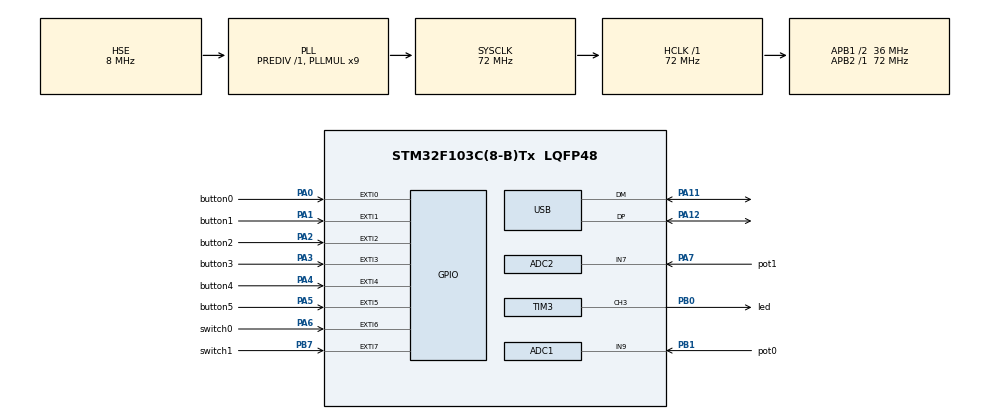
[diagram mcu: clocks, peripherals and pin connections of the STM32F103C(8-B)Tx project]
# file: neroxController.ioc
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ADC1.Channel-7\#ChannelRegularConversion=ADC_CHANNEL_9
ADC1.ContinuousConvMode=ENABLE
ADC1.DataAlign=ADC_DATAALIGN_RIGHT
ADC1.DiscontinuousConvMode=DISABLE
ADC1.EnableAnalogWatchDog=false
ADC1.EnableRegularConversion=ENABLE
ADC1.ExternalTrigConv=ADC_SOFTWARE_START
ADC1.InjNumberOfConversion=0
ADC1.NbrOfConversion=1
ADC1.NbrOfConversionFlag=1
ADC1.Rank-7\#ChannelRegularConversion=1
ADC1.SamplingTime-7\#ChannelRegularConversion=ADC_SAMPLETIME_1CYCLE_5
ADC1.ScanConvMode=ADC_SCAN_DISABLE
ADC1.master=1
ADC2.Channel-0\#ChannelRegularConversion=ADC_CHANNEL_7
ADC2.ContinuousConvMode=ENABLE
ADC2.NbrOfConversion=1
ADC2.NbrOfConversionFlag=1
ADC2.Rank-0\#ChannelRegularConversion=1
ADC2.SamplingTime-0\#ChannelRegularConversion=ADC_SAMPLETIME_1CYCLE_5
Dma.Request0=TIM3_CH3
Dma.TIM3_CH3.0.Direction=DMA_MEMORY_TO_PERIPH
Dma.TIM3_CH3.0.Instance=DMA1_Channel2
Dma.TIM3_CH3.0.MemDataAlignment=DMA_MDATAALIGN_WORD
Dma.TIM3_CH3.0.MemInc=DMA_MINC_ENABLE
Dma.TIM3_CH3.0.Mode=DMA_CIRCULAR
Dma.TIM3_CH3.0.PeriphDataAlignment=DMA_PDATAALIGN_WORD
Dma.TIM3_CH3.0.PeriphInc=DMA_PINC_DISABLE
Dma.TIM3_CH3.0.Priority=DMA_PRIORITY_MEDIUM
Mcu.Family=STM32F1
Mcu.Name=STM32F103C(8-B)Tx
Mcu.Package=LQFP48
NVIC.DMA1_Channel2_IRQn=true\:0\:0\:false\:false\:true\:false
NVIC.EXTI0_IRQn=true\:0\:0\:false\:false\:true\:true
NVIC.EXTI1_IRQn=true\:0\:0\:false\:false\:true\:true
NVIC.EXTI2_IRQn=true\:0\:0\:false\:false\:true\:true
NVIC.EXTI3_IRQn=true\:0\:0\:false\:false\:true\:true
NVIC.EXTI4_IRQn=true\:0\:0\:false\:false\:true\:true
NVIC.EXTI9_5_IRQn=true\:0\:0\:false\:false\:true\:true
NVIC.PriorityGroup=NVIC_PRIORITYGROUP_4
NVIC.USB_HP_CAN1_TX_IRQn=true\:0\:0\:false\:false\:true\:true
NVIC.USB_LP_CAN1_RX0_IRQn=true\:0\:0\:false\:false\:true\:false
PA0-WKUP.GPIO_Label=button0
PA0-WKUP.GPIO_ModeDefaultEXTI=GPIO_MODE_IT_RISING_FALLING
PA0-WKUP.GPIO_PuPd=GPIO_PULLDOWN
PA0-WKUP.Signal=GPXTI0
PA1.GPIO_Label=button1
PA1.GPIO_ModeDefaultEXTI=GPIO_MODE_IT_RISING_FALLING
PA1.GPIO_PuPd=GPIO_PULLDOWN
PA1.Signal=GPXTI1
PA11.Mode=Device
PA11.Signal=USB_DM
PA12.Mode=Device
PA12.Signal=USB_DP
PA13.Mode=Serial_Wire
PA13.Signal=SYS_JTMS-SWDIO
PA14.Mode=Serial_Wire
PA14.Signal=SYS_JTCK-SWCLK
PA2.GPIO_Label=button2
PA2.GPIO_ModeDefaultEXTI=GPIO_MODE_IT_RISING_FALLING
PA2.GPIO_PuPd=GPIO_PULLDOWN
PA2.Signal=GPXTI2
PA3.GPIO_Label=button3
PA3.GPIO_ModeDefaultEXTI=GPIO_MODE_IT_RISING_FALLING
PA3.GPIO_PuPd=GPIO_PULLDOWN
PA3.Signal=GPXTI3
PA4.GPIO_Label=button4
PA4.GPIO_ModeDefaultEXTI=GPIO_MODE_IT_RISING_FALLING
PA4.GPIO_PuPd=GPIO_PULLDOWN
PA4.Signal=GPXTI4
PA5.GPIO_Label=button5
PA5.GPIO_ModeDefaultEXTI=GPIO_MODE_IT_RISING_FALLING
PA5.GPIO_PuPd=GPIO_PULLDOWN
PA5.Signal=GPXTI5
PA6.GPIO_Label=switch0
PA6.GPIO_ModeDefaultEXTI=GPIO_MODE_IT_RISING_FALLING
PA6.GPIO_PuPd=GPIO_PULLDOWN
PA6.Signal=GPXTI6
PA7.GPIO_Label=pot1
PA7.Signal=ADCx_IN7
PB0.GPIO_Label=led
PB0.Signal=S_TIM3_CH3
PB1.GPIO_Label=pot0
PB1.Signal=ADCx_IN9
PB7.GPIO_Label=switch1
PB7.GPIO_ModeDefaultEXTI=GPIO_MODE_IT_RISING_FALLING
PB7.GPIO_PuPd=GPIO_PULLDOWN
PB7.Signal=GPXTI7
PD0-OSC_IN.Mode=HSE-External-Oscillator
PD0-OSC_IN.Signal=RCC_OSC_IN
PD1-OSC_OUT.Mode=HSE-External-Oscillator
PD1-OSC_OUT.Signal=RCC_OSC_OUT
ProjectManager.HeapSize=0x200
ProjectManager.StackSize=0x400
ProjectManager.TargetToolchain=SW4STM32
RCC.ADCPresc=RCC_ADCPCLK2_DIV6
RCC.AHBFreq_Value=72000000
RCC.APB1CLKDivider=RCC_HCLK_DIV2
RCC.APB1Freq_Value=36000000
RCC.APB1TimFreq_Value=72000000
RCC.APB2Freq_Value=72000000
RCC.APB2TimFreq_Value=72000000
RCC.HCLKFreq_Value=72000000
RCC.PLLMUL=RCC_PLL_MUL9
RCC.SYSCLKFreq_VALUE=72000000
RCC.SYSCLKSource=RCC_SYSCLKSOURCE_PLLCLK
RCC.USBFreq_Value=48000000
RCC.USBPrescaler=RCC_USBCLKSOURCE_PLL_DIV1_5
SH.ADCx_IN7.0=ADC2_IN7,IN7
SH.ADCx_IN9.0=ADC1_IN9,IN9
SH.S_TIM3_CH3.0=TIM3_CH3,PWM Generation3 CH3
TIM3.Channel-PWM\ Generation3\ CH3=TIM_CHANNEL_3
TIM3.Period=90
USB_DEVICE.CLASS_NAME_FS=CUSTOMHID
USB_DEVICE.CONFIGURATION_STRING_CUSTOMHID_FS=USB Controller Config
USB_DEVICE.INTERFACE_STRING_CUSTOMHID_FS=USB Controller Interface
USB_DEVICE.MANUFACTURER_STRING=Nerox
USB_DEVICE.PRODUCT_STRING_CUSTOMHID_FS=Nerox USB Controller
USB_DEVICE.USBD_CUSTOMHID_OUTREPORT_BUF_SIZE=64
USB_DEVICE.USBD_CUSTOM_HID_REPORT_DESC_SIZE=64
USB_DEVICE.USBD_DEBUG_LEVEL=3
USB_DEVICE.VID=1155
USB_DEVICE.VirtualMode=CustomHid
USB_DEVICE.VirtualModeFS=Custom_Hid_FS
VP_TIM3_VS_ClockSourceINT.Mode=Internal
VP_USB_DEVICE_VS_USB_DEVICE_CUSTOM_HID_FS.Mode=CUSTOM_HID_FS
board=neroxController

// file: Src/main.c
/**
  ******************************************************************************
  * File Name          : main.c
  * Description        : Main program body
  ******************************************************************************
  * This notice applies to any and all portions of this file
  * that are not between comment pairs USER CODE BEGIN and
  * USER CODE END. Other portions of this file, whether
  * inserted by the user or by software development tools
  * are owned by their respective copyright owners.
  *
  * Copyright (c) 2018 STMicroelectronics International N.V.
  * All rights reserved.
  *
  * Redistribution and use in source and binary forms, with or without
  * modification, are permitted, provided that the following conditions are met:
  *
  * 1. Redistribution of source code must retain the above copyright notice,
  *    this list of conditions and the following disclaimer.
  * 2. Redistributions in binary form must reproduce the above copyright notice,
  *    this list of conditions and the following disclaimer in the documentation
  *    and/or other materials provided with the distribution.
  * 3. Neither the name of STMicroelectronics nor the names of other
  *    contributors to this software may be used to endorse or promote products
  *    derived from this software without specific written permission.
  * 4. This software, including modifications and/or derivative works of this
  *    software, must execute solely and exclusively on microcontroller or
  *    microprocessor devices manufactured by or for STMicroelectronics.
  * 5. Redistribution and use of this software other than as permitted under
  *    this license is void and will automatically terminate your rights under
  *    this license.
  *
  * THIS SOFTWARE IS PROVIDED BY STMICROELECTRONICS AND CONTRIBUTORS "AS IS"
  * AND ANY EXPRESS, IMPLIED OR STATUTORY WARRANTIES, INCLUDING, BUT NOT
  * LIMITED TO, THE IMPLIED WARRANTIES OF MERCHANTABILITY, FITNESS FOR A
  * PARTICULAR PURPOSE AND NON-INFRINGEMENT OF THIRD PARTY INTELLECTUAL PROPERTY
  * RIGHTS ARE DISCLAIMED TO THE FULLEST EXTENT PERMITTED BY LAW. IN NO EVENT
  * SHALL STMICROELECTRONICS OR CONTRIBUTORS BE LIABLE FOR ANY DIRECT, INDIRECT,
  * INCIDENTAL, SPECIAL, EXEMPLARY, OR CONSEQUENTIAL DAMAGES (INCLUDING, BUT NOT
  * LIMITED TO, PROCUREMENT OF SUBSTITUTE GOODS OR SERVICES; LOSS OF USE, DATA,
  * OR PROFITS; OR BUSINESS INTERRUPTION) HOWEVER CAUSED AND ON ANY THEORY OF
  * LIABILITY, WHETHER IN CONTRACT, STRICT LIABILITY, OR TORT (INCLUDING
  * NEGLIGENCE OR OTHERWISE) ARISING IN ANY WAY OUT OF THE USE OF THIS SOFTWARE,
  * EVEN IF ADVISED OF THE POSSIBILITY OF SUCH DAMAGE.
  *
  ******************************************************************************
  */

#include "main.h"
#include "stm32f1xx_hal.h"
#include "usb_device.h"

ADC_HandleTypeDef hadc1;
ADC_HandleTypeDef hadc2;

TIM_HandleTypeDef htim3;
DMA_HandleTypeDef hdma_tim3_ch3;

/* USER CODE BEGIN PV */
/* Private variables ---------------------------------------------------------*/
#define nLED 12
#define adc_margin 50

void initControllers();

uint8_t usb_rx_buffer[64];
uint8_t senddata;
uint32_t PWM_Buffer[nLED];
uint32_t adc1Value;
uint32_t adc2Value;
uint8_t initCode;
uint8_t isConnected;
/* USER CODE END PV */

void SystemClock_Config(void);
static void MX_GPIO_Init(void);
static void MX_DMA_Init(void);
static void MX_TIM3_Init(void);
static void MX_ADC2_Init(void);
static void MX_ADC1_Init(void);

void HAL_TIM_MspPostInit(TIM_HandleTypeDef *htim);

/* USER CODE BEGIN PFP */
/* Private function prototypes -----------------------------------------------*/

/* USER CODE END PFP */

int main(void)
{

  /* MCU Configuration----------------------------------------------------------*/

  /* Reset of all peripherals, Initializes the Flash interface and the Systick. */
  HAL_Init();

  /* Configure the system clock */
  SystemClock_Config();

  /* Initialize all configured peripherals */
  MX_GPIO_Init();
  MX_DMA_Init();
  MX_USB_DEVICE_Init();
  MX_TIM3_Init();
  MX_ADC2_Init();
  MX_ADC1_Init();

  /* USER CODE BEGIN 2 */
  HAL_ADC_Start(&hadc1);
  HAL_ADC_Start(&hadc2);
  HAL_TIM_Base_Start(&htim3);
  HAL_TIM_PWM_Start(&htim3,TIM_CHANNEL_3);
  HAL_TIM_PWM_Start_DMA(&htim3, TIM_CHANNEL_3, PWM_Buffer ,sizeof(PWM_Buffer));

  /* USER CODE END 2 */

  /* Infinite loop */
  while (1)
  {

  /* USER CODE BEGIN 3 */
	if (initCode)
	{

		volatile uint32_t temp_adc = HAL_ADC_GetValue(&hadc1);
		volatile uint8_t temp[5];

		if(((adc1Value + adc_margin) < temp_adc) || (((int32_t)adc1Value - adc_margin) > (int32_t)temp_adc))
		{
			if (temp_adc < adc_margin)
				temp_adc = 0;

			adc1Value = temp_adc;
			temp[0] = 0xF0; //pot0
			temp[1] = (adc1Value & 0x000000ff);
			temp[2] = (adc1Value & 0x0000ff00) >> 8;
			temp[3] = (adc1Value & 0x00ff0000) >> 16;
			temp[4] = (adc1Value & 0xff000000) >> 24;

			USBD_CUSTOM_HID_SendReport(&hUsbDeviceFS, &temp, 5);
		}

		temp_adc = HAL_ADC_GetValue(&hadc2);

		if(((adc2Value + adc_margin) < temp_adc) || (((int32_t)adc2Value - adc_margin) > (int32_t)temp_adc))
		{
			if (temp_adc < adc_margin)
				temp_adc = 0;

			adc2Value = temp_adc;
			temp[0] = 0xF1; //pot1
			temp[1] = (adc2Value & 0x000000ff);
			temp[2] = (adc2Value & 0x0000ff00) >> 8;
			temp[3] = (adc2Value & 0x00ff0000) >> 16;
			temp[4] = (adc2Value & 0xff000000) >> 24;

			USBD_CUSTOM_HID_SendReport(&hUsbDeviceFS, &temp, 5);
		}
	}
	else
		HAL_Delay(200);
  }
  /* USER CODE END 3 */

}

/** System Clock Configuration
*/
void SystemClock_Config(void)
{

  RCC_OscInitTypeDef RCC_OscInitStruct;
  RCC_ClkInitTypeDef RCC_ClkInitStruct;
  RCC_PeriphCLKInitTypeDef PeriphClkInit;

    /**Initializes the CPU, AHB and APB busses clocks
    */
  RCC_OscInitStruct.OscillatorType = RCC_OSCILLATORTYPE_HSE;
  RCC_OscInitStruct.HSEState = RCC_HSE_ON;
  RCC_OscInitStruct.HSEPredivValue = RCC_HSE_PREDIV_DIV1;
  RCC_OscInitStruct.HSIState = RCC_HSI_ON;
  RCC_OscInitStruct.PLL.PLLState = RCC_PLL_ON;
  RCC_OscInitStruct.PLL.PLLSource = RCC_PLLSOURCE_HSE;
  RCC_OscInitStruct.PLL.PLLMUL = RCC_PLL_MUL9;
  if (HAL_RCC_OscConfig(&RCC_OscInitStruct) != HAL_OK)
  {
    _Error_Handler(__FILE__, __LINE__);
  }

    /**Initializes the CPU, AHB and APB busses clocks
    */
  RCC_ClkInitStruct.ClockType = RCC_CLOCKTYPE_HCLK|RCC_CLOCKTYPE_SYSCLK
                              |RCC_CLOCKTYPE_PCLK1|RCC_CLOCKTYPE_PCLK2;
  RCC_ClkInitStruct.SYSCLKSource = RCC_SYSCLKSOURCE_PLLCLK;
  RCC_ClkInitStruct.AHBCLKDivider = RCC_SYSCLK_DIV1;
  RCC_ClkInitStruct.APB1CLKDivider = RCC_HCLK_DIV2;
  RCC_ClkInitStruct.APB2CLKDivider = RCC_HCLK_DIV1;

  if (HAL_RCC_ClockConfig(&RCC_ClkInitStruct, FLASH_LATENCY_2) != HAL_OK)
  {
    _Error_Handler(__FILE__, __LINE__);
  }

  PeriphClkInit.PeriphClockSelection = RCC_PERIPHCLK_ADC|RCC_PERIPHCLK_USB;
  PeriphClkInit.AdcClockSelection = RCC_ADCPCLK2_DIV6;
  PeriphClkInit.UsbClockSelection = RCC_USBCLKSOURCE_PLL_DIV1_5;
  if (HAL_RCCEx_PeriphCLKConfig(&PeriphClkInit) != HAL_OK)
  {
    _Error_Handler(__FILE__, __LINE__);
  }

    /**Configure the Systick interrupt time
    */
  HAL_SYSTICK_Config(HAL_RCC_GetHCLKFreq()/1000);

    /**Configure the Systick
    */
  HAL_SYSTICK_CLKSourceConfig(SYSTICK_CLKSOURCE_HCLK);

  /* SysTick_IRQn interrupt configuration */
  HAL_NVIC_SetPriority(SysTick_IRQn, 0, 0);
}

/* ADC1 init function */
static void MX_ADC1_Init(void)
{

  ADC_ChannelConfTypeDef sConfig;

    /**Common config
    */
  hadc1.Instance = ADC1;
  hadc1.Init.ScanConvMode = ADC_SCAN_DISABLE;
  hadc1.Init.ContinuousConvMode = ENABLE;
  hadc1.Init.DiscontinuousConvMode = DISABLE;
  hadc1.Init.ExternalTrigConv = ADC_SOFTWARE_START;
  hadc1.Init.DataAlign = ADC_DATAALIGN_RIGHT;
  hadc1.Init.NbrOfConversion = 1;
  if (HAL_ADC_Init(&hadc1) != HAL_OK)
  {
    _Error_Handler(__FILE__, __LINE__);
  }

    /**Configure Regular Channel
    */
  sConfig.Channel = ADC_CHANNEL_9;
  sConfig.Rank = 1;
  sConfig.SamplingTime = ADC_SAMPLETIME_1CYCLE_5;
  if (HAL_ADC_ConfigChannel(&hadc1, &sConfig) != HAL_OK)
  {
    _Error_Handler(__FILE__, __LINE__);
  }

}

/* ADC2 init function */
static void MX_ADC2_Init(void)
{

  ADC_ChannelConfTypeDef sConfig;

    /**Common config
    */
  hadc2.Instance = ADC2;
  hadc2.Init.ScanConvMode = ADC_SCAN_DISABLE;
  hadc2.Init.ContinuousConvMode = ENABLE;
  hadc2.Init.DiscontinuousConvMode = DISABLE;
  hadc2.Init.ExternalTrigConv = ADC_SOFTWARE_START;
  hadc2.Init.DataAlign = ADC_DATAALIGN_RIGHT;
  hadc2.Init.NbrOfConversion = 1;
  if (HAL_ADC_Init(&hadc2) != HAL_OK)
  {
    _Error_Handler(__FILE__, __LINE__);
  }

    /**Configure Regular Channel
    */
  sConfig.Channel = ADC_CHANNEL_7;
  sConfig.Rank = 1;
  sConfig.SamplingTime = ADC_SAMPLETIME_1CYCLE_5;
  if (HAL_ADC_ConfigChannel(&hadc2, &sConfig) != HAL_OK)
  {
    _Error_Handler(__FILE__, __LINE__);
  }

}

/* TIM3 init function */
static void MX_TIM3_Init(void)
{

  TIM_ClockConfigTypeDef sClockSourceConfig;
  TIM_MasterConfigTypeDef sMasterConfig;
  TIM_OC_InitTypeDef sConfigOC;

  htim3.Instance = TIM3;
  htim3.Init.Prescaler = 0;
  htim3.Init.CounterMode = TIM_COUNTERMODE_UP;
  htim3.Init.Period = 90;
  htim3.Init.ClockDivision = TIM_CLOCKDIVISION_DIV1;
  htim3.Init.AutoReloadPreload = TIM_AUTORELOAD_PRELOAD_DISABLE;
  if (HAL_TIM_Base_Init(&htim3) != HAL_OK)
  {
    _Error_Handler(__FILE__, __LINE__);
  }

  sClockSourceConfig.ClockSource = TIM_CLOCKSOURCE_INTERNAL;
  if (HAL_TIM_ConfigClockSource(&htim3, &sClockSourceConfig) != HAL_OK)
  {
    _Error_Handler(__FILE__, __LINE__);
  }

  if (HAL_TIM_PWM_Init(&htim3) != HAL_OK)
  {
    _Error_Handler(__FILE__, __LINE__);
  }

  sMasterConfig.MasterOutputTrigger = TIM_TRGO_RESET;
  sMasterConfig.MasterSlaveMode = TIM_MASTERSLAVEMODE_DISABLE;
  if (HAL_TIMEx_MasterConfigSynchronization(&htim3, &sMasterConfig) != HAL_OK)
  {
    _Error_Handler(__FILE__, __LINE__);
  }

  sConfigOC.OCMode = TIM_OCMODE_PWM1;
  sConfigOC.Pulse = 0;
  sConfigOC.OCPolarity = TIM_OCPOLARITY_HIGH;
  sConfigOC.OCFastMode = TIM_OCFAST_DISABLE;
  if (HAL_TIM_PWM_ConfigChannel(&htim3, &sConfigOC, TIM_CHANNEL_3) != HAL_OK)
  {
    _Error_Handler(__FILE__, __LINE__);
  }

  HAL_TIM_MspPostInit(&htim3);

}

static void MX_DMA_Init(void)
{
  /* DMA controller clock enable */
  __HAL_RCC_DMA1_CLK_ENABLE();

  /* DMA interrupt init */
  /* DMA1_Channel2_IRQn interrupt configuration */
  HAL_NVIC_SetPriority(DMA1_Channel2_IRQn, 0, 0);
  HAL_NVIC_EnableIRQ(DMA1_Channel2_IRQn);

}

/** Configure pins as
        * Analog
        * Input
        * Output
        * EVENT_OUT
        * EXTI
*/
static void MX_GPIO_Init(void)
{

  GPIO_InitTypeDef GPIO_InitStruct;

  /* GPIO Ports Clock Enable */
  __HAL_RCC_GPIOD_CLK_ENABLE();
  __HAL_RCC_GPIOA_CLK_ENABLE();
  __HAL_RCC_GPIOB_CLK_ENABLE();

  /*Configure GPIO pins : button0_Pin button1_Pin button2_Pin button3_Pin
                           button4_Pin button5_Pin switch0_Pin */
  GPIO_InitStruct.Pin = button0_Pin|button1_Pin|button2_Pin|button3_Pin
                          |button4_Pin|button5_Pin|switch0_Pin;
  GPIO_InitStruct.Mode = GPIO_MODE_IT_RISING_FALLING;
  GPIO_InitStruct.Pull = GPIO_PULLDOWN;
  HAL_GPIO_Init(GPIOA, &GPIO_InitStruct);

  /*Configure GPIO pin : switch1_Pin */
  GPIO_InitStruct.Pin = switch1_Pin;
  GPIO_InitStruct.Mode = GPIO_MODE_IT_RISING_FALLING;
  GPIO_InitStruct.Pull = GPIO_PULLDOWN;
  HAL_GPIO_Init(switch1_GPIO_Port, &GPIO_InitStruct);

  /* EXTI interrupt init*/
  HAL_NVIC_SetPriority(EXTI0_IRQn, 0, 0);
  HAL_NVIC_EnableIRQ(EXTI0_IRQn);

  HAL_NVIC_SetPriority(EXTI1_IRQn, 0, 0);
  HAL_NVIC_EnableIRQ(EXTI1_IRQn);

  HAL_NVIC_SetPriority(EXTI2_IRQn, 0, 0);
  HAL_NVIC_EnableIRQ(EXTI2_IRQn);

  HAL_NVIC_SetPriority(EXTI3_IRQn, 0, 0);
  HAL_NVIC_EnableIRQ(EXTI3_IRQn);

  HAL_NVIC_SetPriority(EXTI4_IRQn, 0, 0);
  HAL_NVIC_EnableIRQ(EXTI4_IRQn);

  HAL_NVIC_SetPriority(EXTI9_5_IRQn, 0, 0);
  HAL_NVIC_EnableIRQ(EXTI9_5_IRQn);

}

/* USER CODE BEGIN 4 */
void initControllers()
{
	uint8_t inittemp[18];
	volatile uint32_t adc0Value = HAL_ADC_GetValue(&hadc2);
	volatile uint32_t adc1Value = HAL_ADC_GetValue(&hadc1);

	if (!HAL_GPIO_ReadPin(button0_GPIO_Port, button0_Pin))
		inittemp[0] = 0x10;
	else
		inittemp[0] = 0x11;

	if (!HAL_GPIO_ReadPin(button1_GPIO_Port, button1_Pin))
		inittemp[1] = 0x12;
	else
		inittemp[1] = 0x13;

	if (!HAL_GPIO_ReadPin(button2_GPIO_Port, button2_Pin))
		inittemp[2] = 0x14;
	else
		inittemp[2] = 0x15;

	if (!HAL_GPIO_ReadPin(button3_GPIO_Port, button3_Pin))
		inittemp[3] = 0x16;
	else
		inittemp[3] = 0x17;

	if (!HAL_GPIO_ReadPin(button4_GPIO_Port, button4_Pin))
		inittemp[4] = 0x18;
	else
		inittemp[4] = 0x19;

	if (!HAL_GPIO_ReadPin(button5_GPIO_Port, button5_Pin))
		inittemp[5] = 0x1A;
	else
		inittemp[5] = 0x1B;

	if (!HAL_GPIO_ReadPin(switch0_GPIO_Port, switch0_Pin))
		inittemp[6] = 0x1C;
	else
		inittemp[6] = 0x1D;

	if (!HAL_GPIO_ReadPin(switch1_GPIO_Port, switch1_Pin))
		inittemp[7] = 0x1E;
	else
		inittemp[7] = 0x1F;

	inittemp[8] = 0xF0; //pot0
	inittemp[9] = (adc1Value & 0x000000ff);
	inittemp[10] = (adc1Value & 0x0000ff00) >> 8;
	inittemp[11] = (adc1Value & 0x00ff0000) >> 16;
	inittemp[12] = (adc1Value & 0xff000000) >> 24;

	inittemp[13] = 0xF1; //pot1
	inittemp[14] = (adc0Value & 0x000000ff);
	inittemp[15] = (adc0Value & 0x0000ff00) >> 8;
	inittemp[16] = (adc0Value & 0x00ff0000) >> 16;
	inittemp[17] = (adc0Value & 0xff000000) >> 24;

	USBD_CUSTOM_HID_SendReport(&hUsbDeviceFS, &inittemp[0], 18);
}
/* USER CODE END 4 */

void _Error_Handler(char * file, int line)
{
  while(1)
  {
  }
}

/************************ (C) COPYRIGHT STMicroelectronics *****END OF FILE****/
